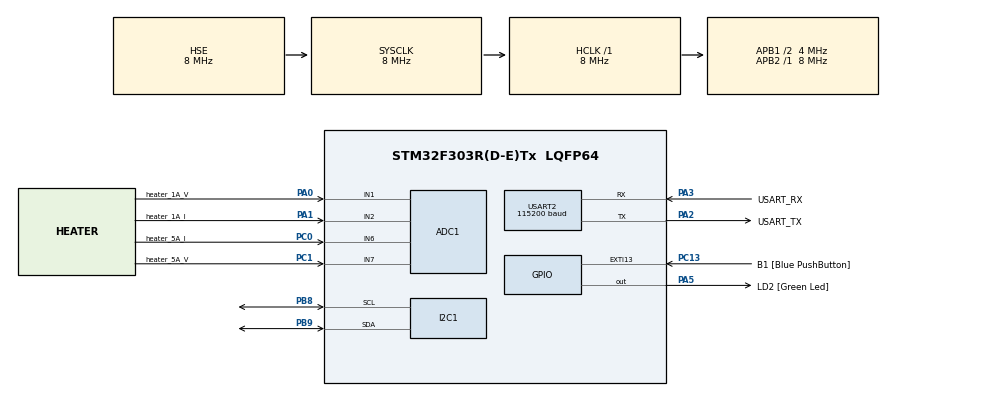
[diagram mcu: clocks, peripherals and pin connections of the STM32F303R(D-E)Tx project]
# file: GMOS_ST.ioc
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ADC1.Channel-0\#ChannelRegularConversion=ADC_CHANNEL_1
ADC1.Channel-1\#ChannelRegularConversion=ADC_CHANNEL_2
ADC1.Channel-2\#ChannelRegularConversion=ADC_CHANNEL_6
ADC1.Channel-3\#ChannelRegularConversion=ADC_CHANNEL_7
ADC1.ClockPrescaler=ADC_CLOCK_SYNC_PCLK_DIV4
ADC1.ContinuousConvMode=ENABLE
ADC1.DMAContinuousRequests=ENABLE
ADC1.EOCSelection=ADC_EOC_SEQ_CONV
ADC1.NbrOfConversion=4
ADC1.NbrOfConversionFlag=1
ADC1.Offset-0\#ChannelRegularConversion=0
ADC1.Offset-1\#ChannelRegularConversion=0
ADC1.Offset-2\#ChannelRegularConversion=0
ADC1.Offset-3\#ChannelRegularConversion=0
ADC1.OffsetNumber-0\#ChannelRegularConversion=ADC_OFFSET_NONE
ADC1.OffsetNumber-1\#ChannelRegularConversion=ADC_OFFSET_NONE
ADC1.OffsetNumber-2\#ChannelRegularConversion=ADC_OFFSET_NONE
ADC1.OffsetNumber-3\#ChannelRegularConversion=ADC_OFFSET_NONE
ADC1.Rank-0\#ChannelRegularConversion=1
ADC1.Rank-1\#ChannelRegularConversion=2
ADC1.Rank-2\#ChannelRegularConversion=3
ADC1.Rank-3\#ChannelRegularConversion=4
ADC1.SamplingTime-0\#ChannelRegularConversion=ADC_SAMPLETIME_19CYCLES_5
ADC1.SamplingTime-1\#ChannelRegularConversion=ADC_SAMPLETIME_19CYCLES_5
ADC1.SamplingTime-2\#ChannelRegularConversion=ADC_SAMPLETIME_19CYCLES_5
ADC1.SamplingTime-3\#ChannelRegularConversion=ADC_SAMPLETIME_19CYCLES_5
ADC1.SamplingTimeOPAMP-1\#ChannelRegularConversion=ADC_SAMPLETIME_61CYCLES_5
ADC1.SamplingTimeOPAMP-2\#ChannelRegularConversion=ADC_SAMPLETIME_61CYCLES_5
ADC1.SamplingTimeOPAMP-3\#ChannelRegularConversion=ADC_SAMPLETIME_61CYCLES_5
ADC1.master=1
Dma.ADC1.0.Direction=DMA_PERIPH_TO_MEMORY
Dma.ADC1.0.Instance=DMA1_Channel1
Dma.ADC1.0.MemDataAlignment=DMA_MDATAALIGN_HALFWORD
Dma.ADC1.0.MemInc=DMA_MINC_ENABLE
Dma.ADC1.0.Mode=DMA_CIRCULAR
Dma.ADC1.0.PeriphDataAlignment=DMA_PDATAALIGN_HALFWORD
Dma.ADC1.0.PeriphInc=DMA_PINC_DISABLE
Dma.ADC1.0.Priority=DMA_PRIORITY_LOW
Dma.Request0=ADC1
I2C1.Timing=0x00201D2B
Mcu.Family=STM32F3
Mcu.Name=STM32F303R(D-E)Tx
Mcu.Package=LQFP64
NVIC.ADC1_2_IRQn=true\:0\:0\:false\:false\:true\:true\:true\:true
NVIC.DMA1_Channel1_IRQn=true\:0\:0\:false\:false\:true\:false\:true\:true
NVIC.PriorityGroup=NVIC_PRIORITYGROUP_0
PA0.GPIO_Label=heater_1A_V
PA0.Mode=IN1-Single-Ended
PA0.Signal=ADC1_IN1
PA1.GPIO_Label=heater_1A_I
PA1.Mode=IN2-Single-Ended
PA1.Signal=ADC1_IN2
PA13.GPIO_Label=TMS
PA13.Mode=Serial_Wire
PA13.Signal=SYS_JTMS-SWDIO
PA14.GPIO_Label=TCK
PA14.Mode=Serial_Wire
PA14.Signal=SYS_JTCK-SWCLK
PA2.GPIO_Label=USART_TX
PA2.GPIO_Mode=GPIO_MODE_AF_PP
PA2.GPIO_PuPd=GPIO_NOPULL
PA2.GPIO_Speed=GPIO_SPEED_FREQ_LOW
PA2.Mode=Asynchronous
PA2.Signal=USART2_TX
PA3.GPIO_Label=USART_RX
PA3.GPIO_Mode=GPIO_MODE_AF_PP
PA3.GPIO_PuPd=GPIO_NOPULL
PA3.GPIO_Speed=GPIO_SPEED_FREQ_LOW
PA3.Mode=Asynchronous
PA3.Signal=USART2_RX
PA5.GPIO_Label=LD2 [Green Led]
PA5.GPIO_Mode=GPIO_MODE_OUTPUT_PP
PA5.GPIO_ModeDefaultOutputPP=GPIO_MODE_OUTPUT_PP
PA5.GPIO_PuPd=GPIO_NOPULL
PA5.GPIO_Speed=GPIO_SPEED_FREQ_LOW
PA5.Signal=GPIO_Output
PB3.GPIO_Label=SWO
PB3.Signal=SYS_JTDO-TRACESWO
PB8.GPIO_Pu=GPIO_NOPULL
PB8.Mode=I2C
PB8.Signal=I2C1_SCL
PB9.GPIO_Pu=GPIO_NOPULL
PB9.Mode=I2C
PB9.Signal=I2C1_SDA
PC0.GPIO_Label=heater_5A_I
PC0.Signal=ADCx_IN6
PC1.GPIO_Label=heater_5A_V
PC1.Signal=ADCx_IN7
PC13.GPIO_Label=B1 [Blue PushButton]
PC13.GPIO_ModeDefaultEXTI=GPIO_MODE_IT_FALLING
PC13.Signal=GPXTI13
PC14-OSC32_IN.Mode=LSE-External-Oscillator
PC14-OSC32_IN.Signal=RCC_OSC32_IN
PC15-OSC32_OUT.Mode=LSE-External-Oscillator
PC15-OSC32_OUT.Signal=RCC_OSC32_OUT
PF0-OSC_IN.Mode=HSE-External-Clock-Source
PF0-OSC_IN.Signal=RCC_OSC_IN
PF1-OSC_OUT.Signal=RCC_OSC_OUT
ProjectManager.HeapSize=0x200
ProjectManager.StackSize=0x400
ProjectManager.TargetToolchain=CMake
RCC.AHBFreq_Value=8000000
RCC.APB1CLKDivider=RCC_HCLK_DIV2
RCC.APB1Freq_Value=4000000
RCC.APB1TimFreq_Value=8000000
RCC.APB2Freq_Value=8000000
RCC.APB2TimFreq_Value=8000000
RCC.CortexFreq_Value=8000000
RCC.HCLKFreq_Value=8000000
RCC.HSE_VALUE=8000000
RCC.HSI_VALUE=8000000
RCC.I2c1ClockSelection=RCC_I2C1CLKSOURCE_SYSCLK
RCC.PLLM=8
RCC.PLLMUL=RCC_PLL_MUL9
RCC.PLLN=336
RCC.PLLP=RCC_PLLP_DIV4
RCC.PLLQ=7
RCC.PLLSourceVirtual=RCC_PLLSOURCE_HSE
RCC.RCC_PLLsource_Clock_Source_FROM_HSE=RCC_HSE_PREDIV_DIV2
RCC.SYSCLKFreq_VALUE=8000000
RCC.SYSCLKSourceVirtual=RCC_SYSCLKSOURCE_HSE
RCC.USBFreq_Value=72000000
SH.ADCx_IN6.0=ADC1_IN6,IN6-Single-Ended
SH.ADCx_IN7.0=ADC1_IN7,IN7-Single-Ended
USART2.BaudRate=115200
USART2.VirtualMode-Asynchronous=VM_ASYNC
board=NUCLEO-F303RE

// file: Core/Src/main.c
/* USER CODE BEGIN Header */
/**
  ******************************************************************************
  * @file           : main.c
  * @brief          : Main program body
  ******************************************************************************
  * @attention
  *
  * Copyright (c) 2025 STMicroelectronics.
  * All rights reserved.
  *
  * This software is licensed under terms that can be found in the LICENSE file
  * in the root directory of this software component.
  * If no LICENSE file comes with this software, it is provided AS-IS.
  *
  ******************************************************************************
  */
/* USER CODE END Header */
#include "main.h"

/* USER CODE BEGIN Includes */
#include "mcp4726.h"
#include "stm32f3xx_hal.h"
#include "stm32f3xx_hal_adc.h"
#include "stm32f3xx_hal_adc_ex.h"
#include "stm32f3xx_hal_def.h"
#include <stdio.h>
#include <string.h>

/* USER CODE END Includes */

ADC_HandleTypeDef hadc1;
DMA_HandleTypeDef hdma_adc1;

I2C_HandleTypeDef hi2c1;

UART_HandleTypeDef huart2;

/* USER CODE BEGIN PV */
uint8_t adc_conv_complete_flag = 0;
MCP4725_HandleTypeDef gate1A;
MCP4725_HandleTypeDef gate2B;
MCP4725_HandleTypeDef gate4B;
MCP4725_HandleTypeDef gate5A;
MCP4725_HandleTypeDef heater1A;
MCP4725_HandleTypeDef heater2B;
MCP4725_HandleTypeDef heater4B;
MCP4725_HandleTypeDef heater5A;

volatile uint16_t adc_buffer[4];
volatile uint16_t *p_heater_1A_V = adc_buffer;
volatile uint16_t *p_heater_1A_I = adc_buffer + 1;
volatile uint16_t *p_heater_5A_I = adc_buffer + 2;
volatile uint16_t *p_heater_5A_V = adc_buffer + 3;

/* USER CODE END PV */

void SystemClock_Config(void);
static void MX_GPIO_Init(void);
static void MX_DMA_Init(void);
static void MX_I2C1_Init(void);
static void MX_USART2_UART_Init(void);
static void MX_ADC1_Init(void);
/* USER CODE BEGIN PFP */
static void I2C_ScanAndPrint(void);
static void UART_WaitForString(const char *target);
static void UART_ReceiveAndProcess(void);

/* USER CODE END PFP */

int main(void)
{

  /* MCU Configuration--------------------------------------------------------*/

  /* Reset of all peripherals, Initializes the Flash interface and the Systick. */
  HAL_Init();

  /* Configure the system clock */
  SystemClock_Config();

  /* Initialize all configured peripherals */
  MX_GPIO_Init();
  MX_DMA_Init();
  MX_I2C1_Init();
  MX_USART2_UART_Init();
  MX_ADC1_Init();
  /* USER CODE BEGIN 2 */
  /* Initialize MCP4725 devices */
  MCP4725_Init(&gate1A, &hi2c1, MCP4725_ADDR_000);
  MCP4725_Init(&gate2B, &hi2c1, MCP4725_ADDR_001);
  MCP4725_Init(&gate4B, &hi2c1, MCP4725_ADDR_010);
  MCP4725_Init(&gate5A, &hi2c1, MCP4725_ADDR_011);
  MCP4725_Init(&heater1A, &hi2c1, MCP4725_ADDR_100);
  MCP4725_Init(&heater2B, &hi2c1, MCP4725_ADDR_101);
  MCP4725_Init(&heater4B, &hi2c1, MCP4725_ADDR_110);
  MCP4725_Init(&heater5A, &hi2c1, MCP4725_ADDR_111);

  if (HAL_ADCEx_Calibration_Start(&hadc1, ADC_SINGLE_ENDED) != HAL_OK)
  {
    Error_Handler();
  }
  if (HAL_ADC_Start_DMA(&hadc1, (uint32_t *)adc_buffer, 4) != HAL_OK)
  {
    Error_Handler();
  }
  /* USER CODE END 2 */

  /* Infinite loop */
  /* USER CODE BEGIN WHILE */
  int voltage_mv = 0;
  HAL_StatusTypeDef res;
  char buf[64];
  while (1)
  {
    /* USER CODE END WHILE */

    /* USER CODE BEGIN 3 */

    res = MCP4725_SetVoltage_mV(&heater1A, 0, MCP4725_DEFAULT_VREF_MV);
    HAL_Delay(1000);
    res = MCP4725_SetVoltage_mV(&heater1A, 2500, MCP4725_DEFAULT_VREF_MV);
    for (volatile int i = 0; i < 1000; ++i)
    {
      while (adc_conv_complete_flag != 1) {}

      adc_conv_complete_flag = 0;

      int n = snprintf(buf, sizeof(buf), "H1A V: %u | I: %u\r\n", *p_heater_1A_V, *p_heater_1A_I);
      if (n > 0) HAL_UART_Transmit(&huart2, (uint8_t *)buf, (uint16_t)n, HAL_MAX_DELAY);
  }

    /* Main loop: wait for and process incoming UART messages */
    //UART_ReceiveAndProcess();
  }
  /* USER CODE END 3 */
}

void SystemClock_Config(void)
{
  RCC_OscInitTypeDef RCC_OscInitStruct = {0};
  RCC_ClkInitTypeDef RCC_ClkInitStruct = {0};
  RCC_PeriphCLKInitTypeDef PeriphClkInit = {0};

  /** Initializes the RCC Oscillators according to the specified parameters
  * in the RCC_OscInitTypeDef structure.
  */
  RCC_OscInitStruct.OscillatorType = RCC_OSCILLATORTYPE_HSE;
  RCC_OscInitStruct.HSEState = RCC_HSE_BYPASS;
  RCC_OscInitStruct.HSIState = RCC_HSI_ON;
  RCC_OscInitStruct.PLL.PLLState = RCC_PLL_NONE;
  if (HAL_RCC_OscConfig(&RCC_OscInitStruct) != HAL_OK)
  {
    Error_Handler();
  }

  /** Initializes the CPU, AHB and APB buses clocks
  */
  RCC_ClkInitStruct.ClockType = RCC_CLOCKTYPE_HCLK|RCC_CLOCKTYPE_SYSCLK
                              |RCC_CLOCKTYPE_PCLK1|RCC_CLOCKTYPE_PCLK2;
  RCC_ClkInitStruct.SYSCLKSource = RCC_SYSCLKSOURCE_HSE;
  RCC_ClkInitStruct.AHBCLKDivider = RCC_SYSCLK_DIV1;
  RCC_ClkInitStruct.APB1CLKDivider = RCC_HCLK_DIV2;
  RCC_ClkInitStruct.APB2CLKDivider = RCC_HCLK_DIV1;

  if (HAL_RCC_ClockConfig(&RCC_ClkInitStruct, FLASH_LATENCY_0) != HAL_OK)
  {
    Error_Handler();
  }
  PeriphClkInit.PeriphClockSelection = RCC_PERIPHCLK_USART2|RCC_PERIPHCLK_I2C1;
  PeriphClkInit.Usart2ClockSelection = RCC_USART2CLKSOURCE_PCLK1;
  PeriphClkInit.I2c1ClockSelection = RCC_I2C1CLKSOURCE_SYSCLK;
  if (HAL_RCCEx_PeriphCLKConfig(&PeriphClkInit) != HAL_OK)
  {
    Error_Handler();
  }
}

static void MX_ADC1_Init(void)
{

  ADC_MultiModeTypeDef multimode = {0};
  ADC_ChannelConfTypeDef sConfig = {0};

  /** Common config
  */
  hadc1.Instance = ADC1;
  hadc1.Init.ClockPrescaler = ADC_CLOCK_SYNC_PCLK_DIV4;
  hadc1.Init.Resolution = ADC_RESOLUTION_12B;
  hadc1.Init.ScanConvMode = ADC_SCAN_ENABLE;
  hadc1.Init.ContinuousConvMode = ENABLE;
  hadc1.Init.DiscontinuousConvMode = DISABLE;
  hadc1.Init.ExternalTrigConvEdge = ADC_EXTERNALTRIGCONVEDGE_NONE;
  hadc1.Init.ExternalTrigConv = ADC_SOFTWARE_START;
  hadc1.Init.DataAlign = ADC_DATAALIGN_RIGHT;
  hadc1.Init.NbrOfConversion = 4;
  hadc1.Init.DMAContinuousRequests = ENABLE;
  hadc1.Init.EOCSelection = ADC_EOC_SEQ_CONV;
  hadc1.Init.LowPowerAutoWait = DISABLE;
  hadc1.Init.Overrun = ADC_OVR_DATA_OVERWRITTEN;
  if (HAL_ADC_Init(&hadc1) != HAL_OK)
  {
    Error_Handler();
  }

  /** Configure the ADC multi-mode
  */
  multimode.Mode = ADC_MODE_INDEPENDENT;
  if (HAL_ADCEx_MultiModeConfigChannel(&hadc1, &multimode) != HAL_OK)
  {
    Error_Handler();
  }

  /** Configure Regular Channel
  */
  sConfig.Channel = ADC_CHANNEL_1;
  sConfig.Rank = ADC_REGULAR_RANK_1;
  sConfig.SingleDiff = ADC_SINGLE_ENDED;
  sConfig.SamplingTime = ADC_SAMPLETIME_19CYCLES_5;
  sConfig.OffsetNumber = ADC_OFFSET_NONE;
  sConfig.Offset = 0;
  if (HAL_ADC_ConfigChannel(&hadc1, &sConfig) != HAL_OK)
  {
    Error_Handler();
  }

  /** Configure Regular Channel
  */
  sConfig.Channel = ADC_CHANNEL_2;
  sConfig.Rank = ADC_REGULAR_RANK_2;
  if (HAL_ADC_ConfigChannel(&hadc1, &sConfig) != HAL_OK)
  {
    Error_Handler();
  }

  /** Configure Regular Channel
  */
  sConfig.Channel = ADC_CHANNEL_6;
  sConfig.Rank = ADC_REGULAR_RANK_3;
  if (HAL_ADC_ConfigChannel(&hadc1, &sConfig) != HAL_OK)
  {
    Error_Handler();
  }

  /** Configure Regular Channel
  */
  sConfig.Channel = ADC_CHANNEL_7;
  sConfig.Rank = ADC_REGULAR_RANK_4;
  if (HAL_ADC_ConfigChannel(&hadc1, &sConfig) != HAL_OK)
  {
    Error_Handler();
  }

}

static void MX_I2C1_Init(void)
{

  hi2c1.Instance = I2C1;
  hi2c1.Init.Timing = 0x00201D2B;
  hi2c1.Init.OwnAddress1 = 0;
  hi2c1.Init.AddressingMode = I2C_ADDRESSINGMODE_7BIT;
  hi2c1.Init.DualAddressMode = I2C_DUALADDRESS_DISABLE;
  hi2c1.Init.OwnAddress2 = 0;
  hi2c1.Init.OwnAddress2Masks = I2C_OA2_NOMASK;
  hi2c1.Init.GeneralCallMode = I2C_GENERALCALL_DISABLE;
  hi2c1.Init.NoStretchMode = I2C_NOSTRETCH_DISABLE;
  if (HAL_I2C_Init(&hi2c1) != HAL_OK)
  {
    Error_Handler();
  }

  /** Configure Analogue filter
  */
  if (HAL_I2CEx_ConfigAnalogFilter(&hi2c1, I2C_ANALOGFILTER_ENABLE) != HAL_OK)
  {
    Error_Handler();
  }

  /** Configure Digital filter
  */
  if (HAL_I2CEx_ConfigDigitalFilter(&hi2c1, 0) != HAL_OK)
  {
    Error_Handler();
  }

}

static void MX_USART2_UART_Init(void)
{

  huart2.Instance = USART2;
  huart2.Init.BaudRate = 115200;
  huart2.Init.WordLength = UART_WORDLENGTH_8B;
  huart2.Init.StopBits = UART_STOPBITS_1;
  huart2.Init.Parity = UART_PARITY_NONE;
  huart2.Init.Mode = UART_MODE_TX_RX;
  huart2.Init.HwFlowCtl = UART_HWCONTROL_NONE;
  huart2.Init.OverSampling = UART_OVERSAMPLING_16;
  huart2.Init.OneBitSampling = UART_ONE_BIT_SAMPLE_DISABLE;
  huart2.AdvancedInit.AdvFeatureInit = UART_ADVFEATURE_NO_INIT;
  if (HAL_UART_Init(&huart2) != HAL_OK)
  {
    Error_Handler();
  }

}

static void MX_DMA_Init(void)
{

  /* DMA controller clock enable */
  __HAL_RCC_DMA1_CLK_ENABLE();

  /* DMA interrupt init */
  /* DMA1_Channel1_IRQn interrupt configuration */
  HAL_NVIC_SetPriority(DMA1_Channel1_IRQn, 0, 0);
  HAL_NVIC_EnableIRQ(DMA1_Channel1_IRQn);

}

static void MX_GPIO_Init(void)
{
  GPIO_InitTypeDef GPIO_InitStruct = {0};

  /* GPIO Ports Clock Enable */
  __HAL_RCC_GPIOC_CLK_ENABLE();
  __HAL_RCC_GPIOF_CLK_ENABLE();
  __HAL_RCC_GPIOA_CLK_ENABLE();
  __HAL_RCC_GPIOB_CLK_ENABLE();

  /*Configure GPIO pin Output Level */
  HAL_GPIO_WritePin(LD2_GPIO_Port, LD2_Pin, GPIO_PIN_RESET);

  /*Configure GPIO pin : B1_Pin */
  GPIO_InitStruct.Pin = B1_Pin;
  GPIO_InitStruct.Mode = GPIO_MODE_IT_FALLING;
  GPIO_InitStruct.Pull = GPIO_NOPULL;
  HAL_GPIO_Init(B1_GPIO_Port, &GPIO_InitStruct);

  /*Configure GPIO pin : LD2_Pin */
  GPIO_InitStruct.Pin = LD2_Pin;
  GPIO_InitStruct.Mode = GPIO_MODE_OUTPUT_PP;
  GPIO_InitStruct.Pull = GPIO_NOPULL;
  GPIO_InitStruct.Speed = GPIO_SPEED_FREQ_LOW;
  HAL_GPIO_Init(LD2_GPIO_Port, &GPIO_InitStruct);

}

/* USER CODE BEGIN 4 */

/* I2C scanner: scan 7-bit addresses 0x01..0x7E and print responders */
static void I2C_ScanAndPrint(void)
{
  char buf[64];
  for (uint8_t addr = 0x01; addr <= 0x7E; ++addr) {
    if (HAL_I2C_IsDeviceReady(&hi2c1, (uint16_t)(addr << 1), 1, 10) == HAL_OK) {
      int n = snprintf(buf, sizeof(buf), "I2C device at 0x%02X\r\n", addr);
      if (n > 0) HAL_UART_Transmit(&huart2, (uint8_t *)buf, (uint16_t)n, HAL_MAX_DELAY);
    }
  }
}

/* Wait for an exact string from UART (blocking). Handles partial/incorrect input and continues listening
   until the full `target` string is received. */
static void UART_WaitForString(const char *target)
{
  size_t len = strlen(target);
  size_t pos = 0;
  uint8_t c;

  while (pos < len) {
    if (HAL_UART_Receive(&huart2, &c, 1, HAL_MAX_DELAY) != HAL_OK) {
      continue;
    }
    if (c == (uint8_t)target[pos]) {
      pos++;
    } else {
      if (c == (uint8_t)target[0]) {
        pos = 1;
      } else {
        pos = 0;
      }
    }
  }

  const char ok_msg[] = "Expected message received\r\n";
  HAL_UART_Transmit(&huart2, (uint8_t *)ok_msg, sizeof(ok_msg) - 1, HAL_MAX_DELAY);
}

/* Simple UART receiver with timeout: waits indefinitely for first byte, then expects CRLF within UART_RX_TIMEOUT_MS milliseconds. */
static void UART_ReceiveAndProcess(void)
{
  uint8_t buf[128];
  size_t idx = 0;
  uint8_t c;

  /* Wait indefinitely for first byte of a message */
  if (HAL_UART_Receive(&huart2, &c, 1, HAL_MAX_DELAY) != HAL_OK) {
    return;
  }
  buf[idx++] = c;
  if (idx >= sizeof(buf) - 1) idx = 0;

  uint32_t start = HAL_GetTick();

  /* Read remaining bytes, but if CRLF isn't received within UART_RX_TIMEOUT_MS, abort */
  while (1) {
    if (HAL_UART_Receive(&huart2, &c, 1, 100) == HAL_OK) {
      buf[idx++] = c;
      if (idx >= sizeof(buf) - 1) {
        /* buffer overflow - reset to avoid OOB */
        idx = 0;
      }
      if (idx >= 2 && buf[idx - 1] == 'E') {
        break;
      }
      /* reset timeout after successful reception of a byte */
      start = HAL_GetTick();
    } else {
      /* no byte received within 100 ms; check overall timeout */
      if ((HAL_GetTick() - start) >= UART_RX_TIMEOUT_MS) {
        /* Abort message reception and notify host */
        HAL_UART_Transmit(&huart2, (uint8_t *)"TIMEOUT\r\n", 9, HAL_MAX_DELAY);
        return;
      }
      /* otherwise, loop and keep waiting */
    }
  }

  if (idx < 2) return; /* must have at least CRLF */

  /* Null-terminate before CRLF */
  buf[idx - 1] = '\0';

  /* Type is first byte, payload follows */
  char type = (char)buf[0];
  char *payload = (char *)&buf[1];

  if (type == 'Q') {
    if (strcmp(payload, "version") == 0)
    {
      char resp[64];
      int n = snprintf(resp, sizeof(resp), "%s\r\n", FIRMWARE_VERSION);
      if (n > 0) HAL_UART_Transmit(&huart2, (uint8_t *)resp, (uint16_t)n, HAL_MAX_DELAY);
    }
    else
    {
      HAL_UART_Transmit(&huart2, (uint8_t *)"ERR\r\n", 5, HAL_MAX_DELAY);
    }
  }
  else if (type == 'C')
  {
    if (strcmp(payload, "PING") == 0)
    {
      HAL_UART_Transmit(&huart2, (uint8_t *)"PONG\r\n", 6, HAL_MAX_DELAY);
    }
    else if (strcmp(payload, "I2C_SCAN") == 0)
    {
      I2C_ScanAndPrint();
    }
    else
    {
      HAL_UART_Transmit(&huart2, (uint8_t *)"OK\r\n", 4, HAL_MAX_DELAY);
    }
  }
  else
  {
    HAL_UART_Transmit(&huart2, (uint8_t *)"ERR\r\n", 5, HAL_MAX_DELAY);
  }
}

void HAL_ADC_ConvCpltCallback(ADC_HandleTypeDef* hadc)
{
 	if(hadc->Instance==ADC1)
    {
        /* Set flag to indicate that ADC conversion is complete */
        adc_conv_complete_flag = 1;
    }
}

/* USER CODE END 4 */

void Error_Handler(void)
{
  __disable_irq();
  while (1)
  {
  }
}
